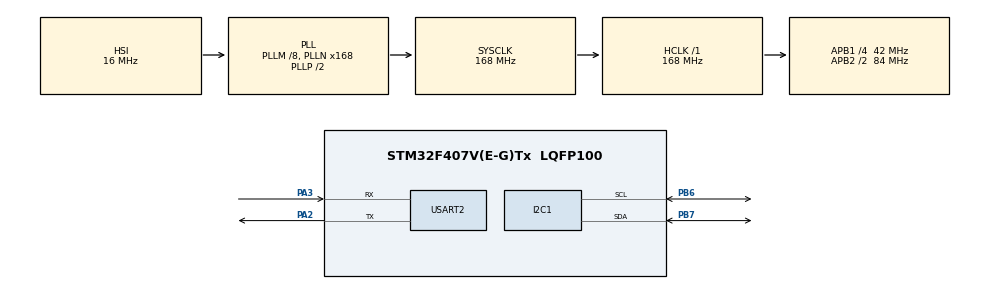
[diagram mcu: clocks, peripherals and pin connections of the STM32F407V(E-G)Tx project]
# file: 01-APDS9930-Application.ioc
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Mcu.Family=STM32F4
Mcu.Name=STM32F407V(E-G)Tx
Mcu.Package=LQFP100
NVIC.PriorityGroup=NVIC_PRIORITYGROUP_4
PA13.Mode=Serial_Wire
PA13.Signal=SYS_JTMS-SWDIO
PA14.Mode=Serial_Wire
PA14.Signal=SYS_JTCK-SWCLK
PA2.Mode=Asynchronous
PA2.Signal=USART2_TX
PA3.Mode=Asynchronous
PA3.Signal=USART2_RX
PB6.Mode=I2C
PB6.Signal=I2C1_SCL
PB7.Mode=I2C
PB7.Signal=I2C1_SDA
PH0-OSC_IN.Mode=HSE-External-Oscillator
PH0-OSC_IN.Signal=RCC_OSC_IN
PH1-OSC_OUT.Mode=HSE-External-Oscillator
PH1-OSC_OUT.Signal=RCC_OSC_OUT
ProjectManager.HeapSize=0x200
ProjectManager.StackSize=0x400
ProjectManager.TargetToolchain=STM32CubeIDE
RCC.48MHZClocksFreq_Value=84000000
RCC.AHBFreq_Value=168000000
RCC.APB1CLKDivider=RCC_HCLK_DIV4
RCC.APB1Freq_Value=42000000
RCC.APB1TimFreq_Value=84000000
RCC.APB2CLKDivider=RCC_HCLK_DIV2
RCC.APB2Freq_Value=84000000
RCC.APB2TimFreq_Value=168000000
RCC.CortexFreq_Value=168000000
RCC.HCLKFreq_Value=168000000
RCC.HSE_VALUE=25000000
RCC.HSI_VALUE=16000000
RCC.LSE_VALUE=32768
RCC.PLLM=8
RCC.PLLN=168
RCC.SYSCLKFreq_VALUE=168000000
RCC.SYSCLKSource=RCC_SYSCLKSOURCE_PLLCLK
RCC.VCOOutputFreq_Value=336000000
USART2.VirtualMode=VM_ASYNC
board=custom

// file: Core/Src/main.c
/* USER CODE BEGIN Header */
/**
  ******************************************************************************
  * @file           : main.c
  * @brief          : Main program body
  ******************************************************************************
  * @attention
  *
  * Copyright (c) 2025 STMicroelectronics.
  * All rights reserved.
  *
  * This software is licensed under terms that can be found in the LICENSE file
  * in the root directory of this software component.
  * If no LICENSE file comes with this software, it is provided AS-IS.
  *
  ******************************************************************************
  */
/* USER CODE END Header */
#include "main.h"

/* USER CODE BEGIN Includes */
#include "APDS9930.h"
#include <stdio.h>  //printf için
/* USER CODE END Includes */

I2C_HandleTypeDef hi2c1;

UART_HandleTypeDef huart2;

/* USER CODE BEGIN PV */
uint16_t proximity_data; // Yakınlık verisini tutacak değişken
uint16_t light_data;     // Işık verisini tutacak değişken
char uart_buf[100];      // UART'tan göndereceğimiz metni tutacak karakter dizisi
/* USER CODE END PV */

void SystemClock_Config(void);
static void MX_GPIO_Init(void);
static void MX_I2C1_Init(void);
static void MX_USART2_UART_Init(void);

int main(void)
{

  /* MCU Configuration--------------------------------------------------------*/

  /* Reset of all peripherals, Initializes the Flash interface and the Systick. */
  HAL_Init();

  /* Configure the system clock */
  SystemClock_Config();

  /* Initialize all configured peripherals */
  MX_GPIO_Init();
  MX_I2C1_Init();
  MX_USART2_UART_Init();
  /* USER CODE BEGIN 2 */

  // APDS9930 sensörünü başlat
   if (APDS9930_Init(&hi2c1)) { // &hi2c1, CubeMX'te I2C1'i kullandığımız için
       // Başlatma başarılıysa bir mesaj gönder
       HAL_UART_Transmit(&huart2, (uint8_t*)"APDS-9930 Baslatildi.\r\n", 25, HAL_MAX_DELAY);
   } else {
       // Başlatma başarısızsa bir hata mesajı gönder
       HAL_UART_Transmit(&huart2, (uint8_t*)"HATA: APDS-9930 bulunamadi!\r\n", 30, HAL_MAX_DELAY);
       // Hata durumunda burada kal
       while(1);
   }

  /* USER CODE END 2 */

  /* Infinite loop */
  while (1)
  {

    /* USER CODE BEGIN 3 */
	  // Yakınlık ve ışık verilerini oku
	     if (APDS9930_ReadProximity(&hi2c1, &proximity_data) && APDS9930_ReadAmbientLight(&hi2c1, &light_data))
	     {
	         // Verileri formatlayarak metin tamponuna yaz
	         sprintf(uart_buf, "Yakinlik: %d, Isik: %d\r\n", proximity_data, light_data);

	         // Formatlanmış metni UART üzerinden bilgisayara gönder
	         HAL_UART_Transmit(&huart2, (uint8_t*)uart_buf, strlen(uart_buf), HAL_MAX_DELAY);
	     }
	     else
	     {
	         // Veri okuma başarısız olursa bir hata mesajı gönder
	         HAL_UART_Transmit(&huart2, (uint8_t*)"Veri okuma hatasi!\r\n", 20, HAL_MAX_DELAY);
	     }

	     // Her okuma arasında yarım saniye bekle
	     HAL_Delay(500);

	   }
  /* USER CODE END 3 */
}

void SystemClock_Config(void)
{
  RCC_OscInitTypeDef RCC_OscInitStruct = {0};
  RCC_ClkInitTypeDef RCC_ClkInitStruct = {0};

  /** Configure the main internal regulator output voltage
  */
  __HAL_RCC_PWR_CLK_ENABLE();
  __HAL_PWR_VOLTAGESCALING_CONFIG(PWR_REGULATOR_VOLTAGE_SCALE1);

  /** Initializes the RCC Oscillators according to the specified parameters
  * in the RCC_OscInitTypeDef structure.
  */
  RCC_OscInitStruct.OscillatorType = RCC_OSCILLATORTYPE_HSI;
  RCC_OscInitStruct.HSIState = RCC_HSI_ON;
  RCC_OscInitStruct.HSICalibrationValue = RCC_HSICALIBRATION_DEFAULT;
  RCC_OscInitStruct.PLL.PLLState = RCC_PLL_ON;
  RCC_OscInitStruct.PLL.PLLSource = RCC_PLLSOURCE_HSI;
  RCC_OscInitStruct.PLL.PLLM = 8;
  RCC_OscInitStruct.PLL.PLLN = 168;
  RCC_OscInitStruct.PLL.PLLP = RCC_PLLP_DIV2;
  RCC_OscInitStruct.PLL.PLLQ = 4;
  if (HAL_RCC_OscConfig(&RCC_OscInitStruct) != HAL_OK)
  {
    Error_Handler();
  }

  /** Initializes the CPU, AHB and APB buses clocks
  */
  RCC_ClkInitStruct.ClockType = RCC_CLOCKTYPE_HCLK|RCC_CLOCKTYPE_SYSCLK
                              |RCC_CLOCKTYPE_PCLK1|RCC_CLOCKTYPE_PCLK2;
  RCC_ClkInitStruct.SYSCLKSource = RCC_SYSCLKSOURCE_PLLCLK;
  RCC_ClkInitStruct.AHBCLKDivider = RCC_SYSCLK_DIV1;
  RCC_ClkInitStruct.APB1CLKDivider = RCC_HCLK_DIV4;
  RCC_ClkInitStruct.APB2CLKDivider = RCC_HCLK_DIV2;

  if (HAL_RCC_ClockConfig(&RCC_ClkInitStruct, FLASH_LATENCY_5) != HAL_OK)
  {
    Error_Handler();
  }
}

static void MX_I2C1_Init(void)
{

  hi2c1.Instance = I2C1;
  hi2c1.Init.ClockSpeed = 100000;
  hi2c1.Init.DutyCycle = I2C_DUTYCYCLE_2;
  hi2c1.Init.OwnAddress1 = 0;
  hi2c1.Init.AddressingMode = I2C_ADDRESSINGMODE_7BIT;
  hi2c1.Init.DualAddressMode = I2C_DUALADDRESS_DISABLE;
  hi2c1.Init.OwnAddress2 = 0;
  hi2c1.Init.GeneralCallMode = I2C_GENERALCALL_DISABLE;
  hi2c1.Init.NoStretchMode = I2C_NOSTRETCH_DISABLE;
  if (HAL_I2C_Init(&hi2c1) != HAL_OK)
  {
    Error_Handler();
  }

}

static void MX_USART2_UART_Init(void)
{

  huart2.Instance = USART2;
  huart2.Init.BaudRate = 115200;
  huart2.Init.WordLength = UART_WORDLENGTH_8B;
  huart2.Init.StopBits = UART_STOPBITS_1;
  huart2.Init.Parity = UART_PARITY_NONE;
  huart2.Init.Mode = UART_MODE_TX_RX;
  huart2.Init.HwFlowCtl = UART_HWCONTROL_NONE;
  huart2.Init.OverSampling = UART_OVERSAMPLING_16;
  if (HAL_UART_Init(&huart2) != HAL_OK)
  {
    Error_Handler();
  }

}

static void MX_GPIO_Init(void)
{

  /* GPIO Ports Clock Enable */
  __HAL_RCC_GPIOH_CLK_ENABLE();
  __HAL_RCC_GPIOA_CLK_ENABLE();
  __HAL_RCC_GPIOB_CLK_ENABLE();

}

void Error_Handler(void)
{
  __disable_irq();
  while (1)
  {
  }
}
